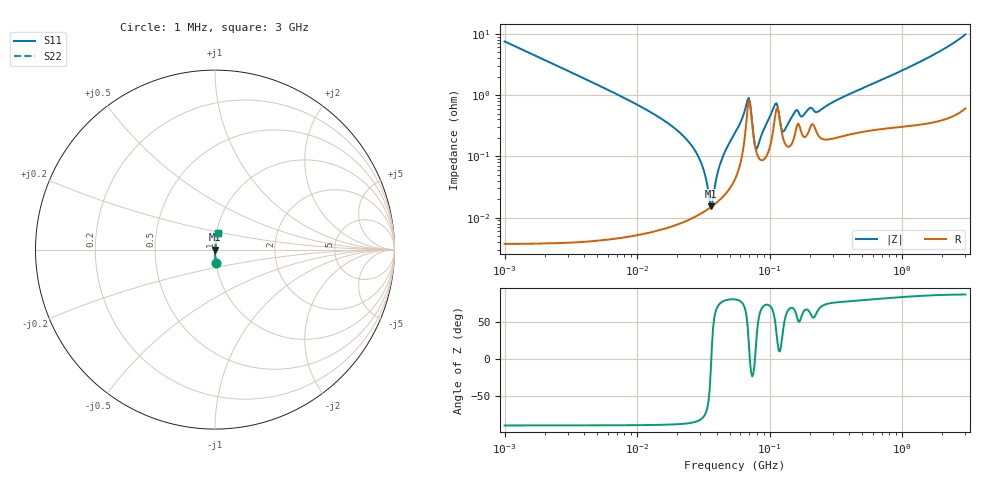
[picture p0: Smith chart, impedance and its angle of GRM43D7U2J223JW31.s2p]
!Murata Part Number: GRM43D7U2J223JW31
!These Parameters are Measured in Series Mode Connection
!Data Generated on Mar 30, 2021
!  o--ll--o
!Port1  Port2
!  o------o
!Operation Temp=25[degC], DC Bias Voltage=0[V]
!Freq. Start=1000[kHz] Stop=3[GHz] 401[Steps]
# Hz S RI R 50
!Freq.(Hz) S11(Real) S11(Imag) S21(Real) S21(Imag) S12(Real) S12(Imag) S22(Real) S22(Imag)
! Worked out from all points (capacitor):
!   401 points, 1 MHz to 3 GHz, reference 50 ohm
!   read as one part in series: C = 21.2 nF near 1.041 MHz
!   lowest |Z| = 15.4 mohm at 35.98 MHz (marker M1)
!   series resonance near 36.3 MHz, so ESL is about 910 pH
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1000000  0.00565 -0.0747  0.9944 0.0747  0.9944 0.0747  0.00565 -0.0747
3823119  0.000418 -0.0194  0.9996 0.0194  0.9996 0.0194  0.000418 -0.0194
1.461624e7  8.1e-05 -0.00435  0.9999 0.00435  0.9999 0.00435  8.1e-05 -0.00435
2.137957e7  8.65e-05 -0.00235  0.9999 0.00235  0.9999 0.00235  8.65e-05 -0.00235
2.718395e7  0.000104 -0.00126  0.9999 0.00126  0.9999 0.00126  0.000104 -0.00126
3.127247e7  0.000122 -0.000656  0.9999 0.000656  0.9999 0.000656  0.000122 -0.000656
3.597591e7  0.000148 -3.98e-05  0.9999 3.98e-05  0.9999 3.98e-05  0.000148 -3.98e-05
3.74453e7  0.000158 0.000141  0.9998 -0.000141  0.9998 -0.000141  0.000158 0.000141
4.307715e7  0.000206 0.000814  0.9998 -0.000814  0.9998 -0.000814  0.000206 0.000814
5.477226e7  0.000429 0.00237  0.9996 -0.00237  0.9996 -0.00237  0.000429 0.00237
6.826239e7  0.00611 0.00572  0.9939 -0.00572  0.9939 -0.00572  0.00611 0.00572
7.105049e7  0.00746 -0.000419  0.9925 0.000419  0.9925 0.000419  0.00746 -0.000419
7.697298e7  0.00162 -0.00019  0.9984 0.00019  0.9984 0.00019  0.00162 -0.00019
8.011685e7  0.00111 0.000745  0.9989 -0.000745  0.9989 -0.000745  0.00111 0.000745
1.103592e8  0.00476 0.00532  0.9952 -0.00532  0.9952 -0.00532  0.00476 0.00532
1.269575e8  0.0019 0.00167  0.9981 -0.00167  0.9981 -0.00167  0.0019 0.00167
1.550909e8  0.00229 0.0048  0.9977 -0.0048  0.9977 -0.0048  0.00229 0.0048
1.748812e8  0.00235 0.00377  0.9977 -0.00377  0.9977 -0.00377  0.00235 0.00377
2.094008e8  0.00339 0.00501  0.9966 -0.00501  0.9966 -0.00501  0.00339 0.00501
2.314421e8  0.00226 0.00483  0.9977 -0.00483  0.9977 -0.00483  0.00226 0.00483
8.005644e8  0.00327 0.0199  0.9967 -0.0199  0.9967 -0.0199  0.00327 0.0199
3e9  0.0152 0.0952  0.9848 -0.0952  0.9848 -0.0952  0.0152 0.0952
